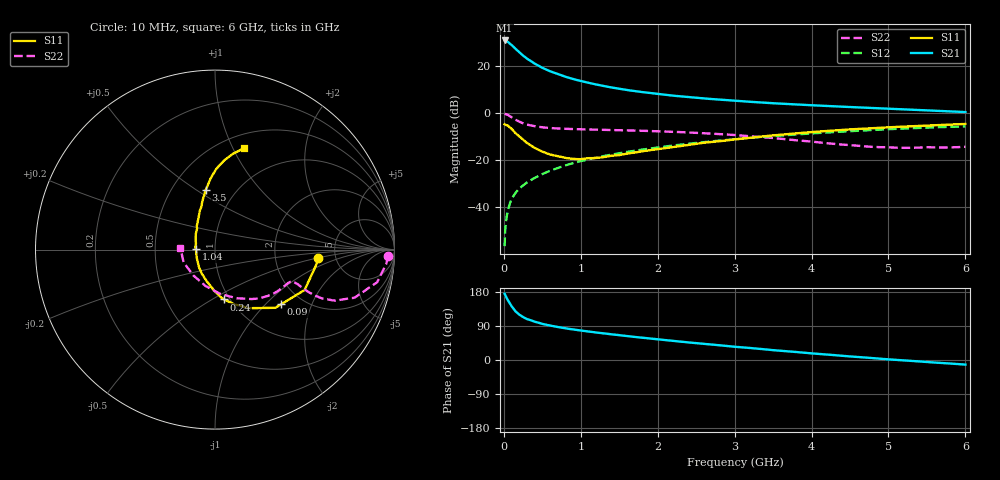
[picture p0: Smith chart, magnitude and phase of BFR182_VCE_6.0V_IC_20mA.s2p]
! Infineon Technologies  Discrete & RF Semiconductors
! BFR182
! VCE =  6.0 V,  IC =  20 mA
! Common Emitter S-Parameters:  Nov 2015
# GHz  S  MA  R  50
!  f  S11  S21  S12  S22
! GHz  MAG  ANG  MAG  ANG  MAG  ANG  MAG  ANG
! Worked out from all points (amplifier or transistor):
!   210 points, 10 MHz to 6 GHz, reference 50 ohm
!   highest |S21| = 30.8 dB at 10 MHz (marker M1)
!   |S21| within 3 dB of that: start of sweep to 134.8 MHz
!   unconditionally stable (mu >= 1): 596.9 MHz to 2.554 GHz
!   at 185 MHz: K = 0.68, MSG = 29.4 dB, |S12| = -32.6 dB
!   at 1.52 GHz: K = 1.04, MAG = 12.4 dB, |S12| = -16.9 dB
!   at 6 GHz: K = 0.90, MSG = 3.0 dB, |S12| = -5.7 dB
!   S11 on the Smith chart (normalised r, x): 10 MHz: 3.66, -0.54; 90 MHz: 1.57, -1.24; 240 MHz: 0.94, -0.57; 1.04 GHz: 0.81, +0.00; 3.5 GHz: 0.73, +0.55; 6 GHz: 0.64, +1.11
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0.01  0.5784 -4.9  34.76 174.8  0.0015 87.4  0.9659 -2.1
0.02  0.5675 -9.7  34.28 170.5  0.0037 83.3  0.9577 -4.7
0.05  0.5475 -24.3  32.69 158.5  0.0083 79.2  0.9213 -11.4
0.09  0.4781 -39.6  28.75 145.4  0.0137 76.3  0.8409 -17.3
0.1  0.467 -44.0  28.05 141.6  0.015 75.9  0.8224 -19.0
0.15  0.3779 -59.7  23.32 128.3  0.0201 71.8  0.7252 -23.1
0.2  0.3211 -71.1  19.51 119.8  0.0249 71.1  0.6562 -24.5
0.24  0.2827 -79.5  17.13 114.6  0.0283 71.2  0.616 -24.7
0.3  0.2331 -90.2  14.33 108.0  0.0337 71.7  0.5691 -24.4
0.4  0.1826 -104.5  11.22 101.1  0.042 72.4  0.5252 -23.4
0.5  0.1523 -119.0  9.129 95.2  0.0508 73.0  0.4985 -22.7
0.7  0.1216 -141.6  6.708 87.0  0.0681 73.7  0.4705 -22.4
0.9  0.107 -165.0  5.265 80.5  0.0869 72.4  0.4578 -23.0
1.02  0.106 -178.8  4.709 77.3  0.0976 72.2  0.4518 -23.9
1.04  0.107 179.2  4.629 76.8  0.0993 72.0  0.4508 -24.0
1.4  0.1245 150.9  3.492 67.8  0.1313 69.7  0.4371 -27.7
2.02  0.1727 125.3  2.521 54.2  0.1884 64.4  0.4113 -35.9
3.1  0.2876 103.6  1.782 33.4  0.2878 53.5  0.332 -55.8
3.5  0.3364 98.8  1.618 26.0  0.325 49.4  0.2962 -66.1
4.1  0.4063 92.7  1.44 16.0  0.3788 42.2  0.2384 -86.9
5.1  0.5082 83.1  1.223 0.4  0.4625 30.0  0.1845 -135.4
6  0.5883 73.9  1.051 -12.1  0.5217 17.9  0.1931 177.2
